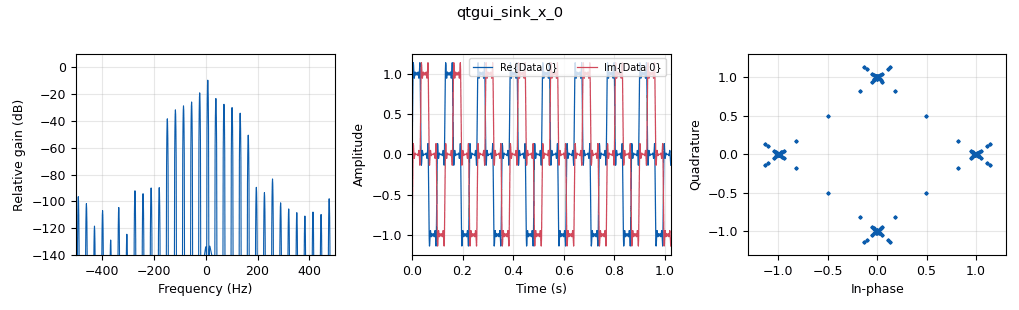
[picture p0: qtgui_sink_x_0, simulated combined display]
<?xml version='1.0' encoding='utf-8'?>
<?grc format='1' created='3.7.13'?>
<flow_graph>
<block>
<key>options</key>
<param><key>id</key><value>top_block</value></param>
<param><key>generate_options</key><value>qt_gui</value></param>
</block>
<block>
<key>variable</key>
<param><key>id</key><value>samp_rate</value></param>
<param><key>value</key><value>20e6</value></param>
</block>
<block>
<key>blocks_deinterleave</key>
<param><key>id</key><value>blocks_deinterleave_0</value></param>
<param><key>type</key><value>complex</value></param>
<param><key>num_streams</key><value>1</value></param>
</block>
<block>
<key>blocks_throttle</key>
<param><key>id</key><value>blocks_throttle_0</value></param>
<param><key>samples_per_second</key><value>samp_rate</value></param>
<param><key>type</key><value>complex</value></param>
</block>
<block>
<key>blocks_vector_source_x</key>
<param><key>id</key><value>blocks_vector_source_x_0</value></param>
<param><key>type</key><value>byte</value></param>
<param><key>repeat</key><value>True</value></param>
<param><key>vector</key><value>(1,0)</value></param>
</block>
<block>
<key>digital_dxpsk_mod</key>
<param><key>id</key><value>digital_dxpsk_mod_1</value></param>
<param><key>excess_bw</key><value>0.35</value></param>
<param><key>mod_code</key><value>"gray"</value></param>
<param><key>log</key><value>False</value></param>
<param><key>samples_per_symbol</key><value>4</value></param>
<param><key>type</key><value>dqpsk</value></param>
<param><key>verbose</key><value>False</value></param>
</block>
<block>
<key>qtgui_sink_x</key>
<param><key>id</key><value>qtgui_sink_x_0</value></param>
<param><key>bw</key><value>1e3</value></param>
<param><key>fc</key><value>0</value></param>
<param><key>freqchangevar</key><value>None</value></param>
<param><key>fftsize</key><value>1024</value></param>
<param><key>showports</key><value>True</value></param>
<param><key>type</key><value>complex</value></param>
<param><key>wintype</key><value>firdes.WIN_BLACKMAN_hARRIS</value></param>
</block>
<connection><source_block_id>blocks_deinterleave_0</source_block_id><sink_block_id>qtgui_sink_x_0</sink_block_id><source_key>0</source_key><sink_key>0</sink_key></connection>
<connection><source_block_id>blocks_throttle_0</source_block_id><sink_block_id>blocks_deinterleave_0</sink_block_id><source_key>0</source_key><sink_key>0</sink_key></connection>
<connection><source_block_id>blocks_vector_source_x_0</source_block_id><sink_block_id>digital_dxpsk_mod_1</sink_block_id><source_key>0</source_key><sink_key>0</sink_key></connection>
<connection><source_block_id>digital_dxpsk_mod_1</source_block_id><sink_block_id>blocks_throttle_0</sink_block_id><source_key>0</source_key><sink_key>0</sink_key></connection>
</flow_graph>
